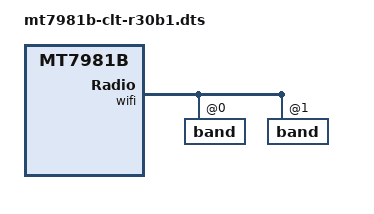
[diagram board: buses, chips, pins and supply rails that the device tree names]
/dts-v1/;
#include "mt7981b-clt-r30b1-base.dtsi"

&spi_nand {
	mediatek,nmbm;
	mediatek,bmt-max-ratio = <1>;
	mediatek,bmt-max-reserved-blocks = <64>;

	partitions {
		compatible = "fixed-partitions";
		#address-cells = <1>;
		#size-cells = <1>;

		partition@0 {
			label = "BL2";
			reg = <0x00000 0x100000>;
			read-only;
		};

		partition@100000 {
			label = "u-boot-env";
			reg = <0x100000 0x80000>;
		};

		factory: partition@180000 {
			label = "Factory";
			reg = <0x180000 0x200000>;
			read-only;

			nvmem-layout {
				compatible = "fixed-layout";
				#address-cells = <1>;
				#size-cells = <1>;

				eeprom_factory: eeprom@0 {
					reg = <0x0 0x1000>;
				};

				macaddr_factory_4: macaddr@4 {
					compatible = "mac-base";
					reg = <0x4 0x6>;
					#nvmem-cell-cells = <1>;
				};

				macaddr_factory_a: macaddr@a {
					compatible = "mac-base";
					reg = <0xa 0x6>;
					#nvmem-cell-cells = <1>;
				};
			};
		};

		partition@380000 {
			label = "FIP";
			reg = <0x380000 0x200000>;
			read-only;
		};

		partition@580000 {
			label = "ubi";
			reg = <0x580000 0x4000000>;
		};

		partition@4580000 {
			label = "data";
			reg = <0x4580000 0x2000000>;
		};
	};
};

&wifi {
	nvmem-cells = <&eeprom_factory>;
	nvmem-cell-names = "eeprom";

	band@0 {
		reg = <0>;
		nvmem-cells = <&macaddr_factory_4 0>;
		nvmem-cell-names = "mac-address";
	};

	band@1 {
		reg = <1>;
		nvmem-cells = <&macaddr_factory_a 1>;
		nvmem-cell-names = "mac-address";
	};
};
